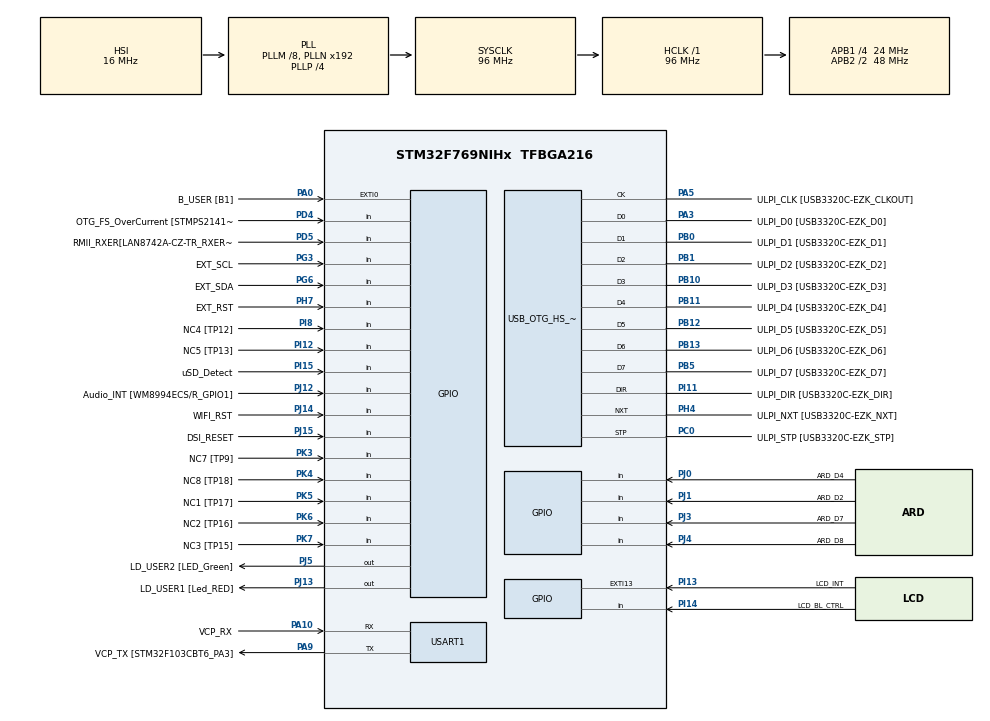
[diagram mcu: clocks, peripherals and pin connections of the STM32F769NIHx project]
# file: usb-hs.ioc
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DSIHOST_CKN.GPIO_Label=DSI_CK_N
DSIHOST_CKN.Signal=DSIHOST_CKN
DSIHOST_CKP.GPIO_Label=DSI_CK_P
DSIHOST_CKP.Signal=DSIHOST_CKP
DSIHOST_D0N.GPIO_Label=DSI_D0_N
DSIHOST_D0N.Signal=DSIHOST_D0N
DSIHOST_D0P.GPIO_Label=DSI_D0_p
DSIHOST_D0P.Signal=DSIHOST_D0P
DSIHOST_D1N.GPIO_Label=DSI_D1_N
DSIHOST_D1N.Signal=DSIHOST_D1N
DSIHOST_D1P.GPIO_Label=DSI_D1_P
DSIHOST_D1P.Signal=DSIHOST_D1P
Mcu.Family=STM32F7
Mcu.Name=STM32F769NIHx
Mcu.Package=TFBGA216
NVIC.OTG_HS_IRQn=true\:0\:0\:false\:false\:true\:true\:true\:true
NVIC.PriorityGroup=NVIC_PRIORITYGROUP_4
PA0/WKUP.GPIO_Label=B_USER [B1]
PA0/WKUP.Signal=GPXTI0
PA1.GPIO_Label=RMII_REF_CLK [LAN8742A-CZ-TR_REFCLK0]
PA1.Signal=ETH_REF_CLK
PA10.GPIO_Label=VCP_RX 
PA10.Mode=Asynchronous
PA10.Signal=USART1_RX
PA11.GPIO_Label=SPI2_NSS
PA11.Signal=SPI2_NSS
PA12.GPIO_Label=ARD_D13/SCK
PA12.GPIO_Mode=GPIO_MODE_AF_PP
PA12.GPIO_PuPd=GPIO_NOPULL
PA12.GPIO_Speed=GPIO_SPEED_FREQ_LOW
PA12.Signal=SPI2_SCK
PA13.GPIO_Label=SWDIO
PA13.Signal=SYS_JTMS-SWDIO
PA14.GPIO_Label=SWCLK
PA14.Signal=SYS_JTCK-SWCLK
PA15.GPIO_Label=CEC
PA15.Signal=CEC
PA2.GPIO_Label=RMII_MDIO [LAN8742A-CZ-TR_MDIO]
PA2.Signal=ETH_MDIO
PA3.GPIO_Label=ULPI_D0 [USB3320C-EZK_D0]
PA3.Mode=Device_HS
PA3.Signal=USB_OTG_HS_ULPI_D0
PA4.GPIO_Label=ARD_A1
PA4.Signal=ADCx_IN4
PA5.GPIO_Label=ULPI_CLK [USB3320C-EZK_CLKOUT]
PA5.Mode=Device_HS
PA5.Signal=USB_OTG_HS_ULPI_CK
PA6.GPIO_Label=ARD_A0
PA6.Signal=ADCx_IN6
PA7.GPIO_Label=RMII_CRS_DV [LAN8742A-CZ-TR_CRS_DV]
PA7.Signal=ETH_CRS_DV
PA8.GPIO_Label=CEC_CLK [TP2]
PA8.Signal=RCC_MCO_1
PA9.GPIO_Label=VCP_TX [STM32F103CBT6_PA3]
PA9.GPIO_Mode=GPIO_MODE_AF_PP
PA9.GPIO_PuPd=GPIO_NOPULL
PA9.GPIO_Speed=GPIO_SPEED_FREQ_LOW
PA9.Mode=Asynchronous
PA9.Signal=USART1_TX
PB0.GPIO_Label=ULPI_D1 [USB3320C-EZK_D1]
PB0.Mode=Device_HS
PB0.Signal=USB_OTG_HS_ULPI_D1
PB1.GPIO_Label=ULPI_D2 [USB3320C-EZK_D2]
PB1.Mode=Device_HS
PB1.Signal=USB_OTG_HS_ULPI_D2
PB10.GPIO_Label=ULPI_D3 [USB3320C-EZK_D3]
PB10.Mode=Device_HS
PB10.Signal=USB_OTG_HS_ULPI_D3
PB11.GPIO_Label=ULPI_D4 [USB3320C-EZK_D4]
PB11.Mode=Device_HS
PB11.Signal=USB_OTG_HS_ULPI_D4
PB12.GPIO_Label=ULPI_D5 [USB3320C-EZK_D5]
PB12.Mode=Device_HS
PB12.Signal=USB_OTG_HS_ULPI_D5
PB13.GPIO_Label=ULPI_D6 [USB3320C-EZK_D6]
PB13.Mode=Device_HS
PB13.Signal=USB_OTG_HS_ULPI_D6
PB14.GPIO_Label=ARDUINO MISO/D12
PB14.GPIO_Mode=GPIO_MODE_AF_PP
PB14.GPIO_PuPd=GPIO_NOPULL
PB14.GPIO_Speed=GPIO_SPEED_FREQ_LOW
PB14.Signal=SPI2_MISO
PB15.GPIO_Label=ARDUINO MOSI/PWM/D11
PB15.GPIO_Mode=GPIO_MODE_AF_PP
PB15.GPIO_PuPd=GPIO_NOPULL
PB15.GPIO_Speed=GPIO_SPEED_FREQ_LOW
PB15.Signal=SPI2_MOSI
PB2.Signal=QUADSPI_CLK
PB3.GPIO_Label=uSD_D2
PB3.Signal=SDMMC2_D2
PB4.GPIO_Label=uSD_D3
PB4.Signal=SDMMC2_D3
PB5.GPIO_Label=ULPI_D7 [USB3320C-EZK_D7]
PB5.Mode=Device_HS
PB5.Signal=USB_OTG_HS_ULPI_D7
PB6.GPIO_Label=QSPI_NCS [N25Q128A13EF840E_S]
PB6.Signal=QUADSPI_BK1_NCS
PB7.GPIO_Label=AUDIO_SDA [WM8994ECS/R_SDA]
PB7.Signal=I2C4_SDA
PB8.GPIO_Label=ARDUINO SCL/D15
PB8.GPIO_Mode=GPIO_MODE_AF_OD
PB8.GPIO_PuPd=GPIO_NOPULL
PB8.GPIO_Speed=GPIO_SPEED_FREQ_LOW
PB8.Signal=I2C1_SCL
PB9.GPIO_Label=ARDUINO SDA/D14
PB9.GPIO_Mode=GPIO_MODE_AF_OD
PB9.GPIO_PuPd=GPIO_NOPULL
PB9.GPIO_Speed=GPIO_SPEED_FREQ_LOW
PB9.Signal=I2C1_SDA
PC0.GPIO_Label=ULPI_STP [USB3320C-EZK_STP]
PC0.Mode=Device_HS
PC0.Signal=USB_OTG_HS_ULPI_STP
PC1.GPIO_Label=RMII_MDC [LAN8742A-CZ-TR_MDC]
PC1.Signal=ETH_MDC
PC10.GPIO_Label=QSPI_D1 [MT25QL512ABB1EW9_DQ1]
PC10.Signal=QUADSPI_BK1_IO1
PC11.GPIO_Label=DFSDM_DATIN5 [TP100]
PC11.Signal=S_DATAIN5DFSDM1
PC12.GPIO_Label=WIFI_RX
PC12.Signal=UART5_TX
PC13.Signal=RTC_OUT
PC14/OSC32_IN.GPIO_Label=RCC_OSC32_IN
PC14/OSC32_IN.Signal=RCC_OSC32_IN
PC15/OSC32_OUT.GPIO_Label=RCC_OSC32_OUT
PC15/OSC32_OUT.Signal=RCC_OSC32_OUT
PC2.GPIO_Label=ARD_A2
PC2.Signal=ADCx_IN12
PC3.GPIO_Label=DFSDM_DATIN1 [TP101]
PC3.Signal=S_DATAIN1DFSDM1
PC4.GPIO_Label=RMII_RXD0 [LAN8742A-CZ-TR_RXD0]
PC4.Signal=ETH_RXD0
PC5.GPIO_Label=RMII_RXD1 [LAN8742A-CZ-TR_RXD1]
PC5.Signal=ETH_RXD1
PC6.GPIO_Label=ARDUINO TX/D1
PC6.Signal=USART6_TX
PC7.GPIO_Label=ARD_D0/RX
PC7.Signal=USART6_RX
PC8.GPIO_Label=ARD_D5/PWM
PC8.Signal=S_TIM3_CH3
PC9.GPIO_Label=QSPI_D0 [N25Q128A13EF840E_DQ0]
PC9.Signal=QUADSPI_BK1_IO0
PD0.GPIO_Label=FMC_D2 [MT48LC4M32B2B5-6A_DQ2]
PD0.Signal=FMC_D2_DA2
PD1.GPIO_Label=FMC_D3 [MT48LC4M32B2B5-6A_DQ3]
PD1.Signal=FMC_D3_DA3
PD10.GPIO_Label=FMC_D15 [MT48LC4M32B2B5-6A_DQ15]
PD10.Signal=FMC_D15_DA15
PD11.GPIO_Label=SPDIF_TX [TP20]
PD11.Signal=SAI2_SD_A
PD12.GPIO_Label=AUDIO_SCL [WM8994ECS/R_SCLK]
PD12.Signal=I2C4_SCL
PD13.GPIO_Label=QSPI_D3 [N25Q128A13EF840E_DQ3]
PD13.Signal=QUADSPI_BK1_IO3
PD14.GPIO_Label=FMC_D0 [MT48LC4M32B2B5-6A_DQ0]
PD14.Signal=FMC_D0_DA0
PD15.GPIO_Label=FMC_D1 [MT48LC4M32B2B5-6A_DQ1]
PD15.Signal=FMC_D1_DA1
PD2.GPIO_Label=WIFI_TX
PD2.Signal=UART5_RX
PD3.GPIO_Label=DFSDM_CKOUT [TP102]
PD3.Signal=S_CKOUTDFSDM1
PD4.GPIO_Label=OTG_FS_OverCurrent [STMPS2141STR_Fault]
PD4.Signal=GPIO_Input
PD5.GPIO_Label=RMII_RXER[LAN8742A-CZ-TR_RXERR]
PD5.Signal=GPIO_Input
PD6.GPIO_Label=uSD_CLK
PD6.Signal=SDMMC2_CK
PD7.GPIO_Label=uSD_CMD
PD7.Signal=SDMMC2_CMD
PD8.GPIO_Label=FMC_D13 [MT48LC4M32B2B5-6A_DQ13]
PD8.Signal=FMC_D13_DA13
PD9.GPIO_Label=FMC_D14 [MT48LC4M32B2B5-6A_DQ14]
PD9.Signal=FMC_D14_DA14
PE0.GPIO_Label=FMC_NBL0 [MT48LC4M32B2B5-6A_DQM0]
PE0.Signal=FMC_NBL0
PE1.GPIO_Label=FMC_NBL1 [MT48LC4M32B2B5-6A_DQM1]
PE1.Signal=FMC_NBL1
PE10.GPIO_Label=FMC_D7 [MT48LC4M32B2B5-6A_DQ7]
PE10.Signal=FMC_D7_DA7
PE11.GPIO_Label=FMC_D8 [MT48LC4M32B2B5-6A_DQ8]
PE11.Signal=FMC_D8_DA8
PE12.GPIO_Label=FMC_D9 [MT48LC4M32B2B5-6A_DQ9]
PE12.Signal=FMC_D9_DA9
PE13.GPIO_Label=FMC_D10 [MT48LC4M32B2B5-6A_DQ10]
PE13.Signal=FMC_D10_DA10
PE14.GPIO_Label=FMC_D11 [MT48LC4M32B2B5-6A_DQ11]
PE14.Signal=FMC_D11_DA11
PE15.GPIO_Label=FMC_D12 [MT48LC4M32B2B5-6A_DQ12]
PE15.Signal=FMC_D12_DA12
PE2.GPIO_Label=QSPI_D2 [N25Q128A13EF840E_DQ2]
PE2.Signal=QUADSPI_BK1_IO2
PE3.GPIO_Label=SAI1_SDB [WM8994ECS/R_ADCDAT1]
PE3.Signal=SAI1_SD_B
PE4.GPIO_Label=SAI1_FSA [WM8994ECS/R_LRCLK1]
PE4.Signal=SAI1_FS_A
PE5.GPIO_Label=SAI1_SCKA [WM8994ECS/R_BCLK1]
PE5.Signal=SAI1_SCK_A
PE6.GPIO_Label=SAI1_SDA [WM8994ECS/R_DACDAT1]
PE6.Signal=SAI1_SD_A
PE7.GPIO_Label=FMC_D4 [MT48LC4M32B2B5-6A_DQ4]
PE7.Signal=FMC_D4_DA4
PE8.GPIO_Label=FMC_D5 [MT48LC4M32B2B5-6A_DQ5]
PE8.Signal=FMC_D5_DA5
PE9.GPIO_Label=FMC_D6 [MT48LC4M32B2B5-6A_DQ6]
PE9.Signal=FMC_D6_DA6
PF0.GPIO_Label=FMC_A0 [MT48LC4M32B2B5-6A_A0]
PF0.Signal=FMC_A0
PF1.GPIO_Label=FMC_A1 [MT48LC4M32B2B5-6A_A1]
PF1.Signal=FMC_A1
PF10.GPIO_Label=ARDUINO A1
PF10.GPIO_Mode=GPIO_MODE_ANALOG
PF10.GPIO_PuPd=GPIO_NOPULL
PF10.Signal=ADC3_IN8
PF11.GPIO_Label=FMC_SDNRAS [MT48LC4M32B2B5-6A_RAS]
PF11.Signal=FMC_SDNRAS
PF12.GPIO_Label=FMC_A6 [MT48LC4M32B2B5-6A_A6]
PF12.Signal=FMC_A6
PF13.GPIO_Label=FMC_A7 [MT48LC4M32B2B5-6A_A7]
PF13.Signal=FMC_A7
PF14.GPIO_Label=FMC_A8 [MT48LC4M32B2B5-6A_A8]
PF14.Signal=FMC_A8
PF15.GPIO_Label=FMC_A9 [MT48LC4M32B2B5-6A_A9]
PF15.Signal=FMC_A9
PF2.GPIO_Label=FMC_A2 [MT48LC4M32B2B5-6A_A2]
PF2.Signal=FMC_A2
PF3.GPIO_Label=FMC_A3 [MT48LC4M32B2B5-6A_A3]
PF3.Signal=FMC_A3
PF4.GPIO_Label=FMC_A4 [MT48LC4M32B2B5-6A_A4]
PF4.Signal=FMC_A4
PF5.GPIO_Label=FMC_A5 [MT48LC4M32B2B5-6A_A5]
PF5.Signal=FMC_A5
PF6.GPIO_Label=ARD_D3/PWM
PF6.Signal=S_TIM10_CH1
PF7.GPIO_Label=ARD_D6/PWM
PF7.Signal=S_TIM11_CH1
PF8.GPIO_Label=ARDUINO A3
PF8.GPIO_Mode=GPIO_MODE_ANALOG
PF8.GPIO_PuPd=GPIO_NOPULL
PF8.Signal=ADC3_IN6
PF9.GPIO_Label=ARDUINO A2
PF9.GPIO_Mode=GPIO_MODE_ANALOG
PF9.GPIO_PuPd=GPIO_NOPULL
PF9.Signal=ADC3_IN7
PG0.GPIO_Label=FMC_A10 [MT48LC4M32B2B5-6A_A10]
PG0.Signal=FMC_A10
PG1.GPIO_Label=FMC_A11 [MT48LC4M32B2B5-6A_A11]
PG1.Signal=FMC_A11
PG10.GPIO_Label=uSD_D1
PG10.Signal=SDMMC2_D1
PG11.GPIO_Label=RMII_TX_EN [LAN8742A-CZ-TR_TXEN]
PG11.Signal=ETH_TX_EN
PG12.GPIO_Label=SPDIF_RX [74LVC1G04SE_4]
PG12.Signal=SPDIFRX_IN1
PG13.GPIO_Label=RMII_TXD0 [LAN8742A-CZ-TR_TXD0]
PG13.Signal=ETH_TXD0
PG14.GPIO_Label=RMII_TXD1 [LAN8742A-CZ-TR_TXD1]
PG14.Signal=ETH_TXD1
PG15.GPIO_Label=FMC_SDNCAS [MT48LC4M32B2B5-6A_CAS]
PG15.Signal=FMC_SDNCAS
PG2.GPIO_Label=FMC_A12
PG2.Signal=FMC_A12
PG3.GPIO_Label=EXT_SCL
PG3.Signal=GPIO_Input
PG4.GPIO_Label=FMC_BA0 [MT48LC4M32B2B5-6A_BA0]
PG4.Signal=FMC_A14_BA0
PG5.GPIO_Label=FMC_BA1 [MT48LC4M32B2B5-6A_BA1]
PG5.Signal=FMC_A15_BA1
PG6.GPIO_Label=EXT_SDA
PG6.Signal=GPIO_Input
PG7.GPIO_Label=SAI1_MCLKA [WM8994ECS/R_MCLK1]
PG7.Signal=SAI1_MCLK_A
PG8.GPIO_Label=FMC_SDCLK [MT48LC4M32B2B5-6A_CLK]
PG8.Signal=FMC_SDCLK
PG9.GPIO_Label=uSD_D0
PG9.Signal=SDMMC2_D0
PH0/OSC_IN.GPIO_Label=OSC_25M [NZ2520SB-25.00M_OUT]
PH0/OSC_IN.Signal=RCC_OSC_IN
PH1/OSC_OUT.Signal=RCC_OSC_OUT
PH10.GPIO_Label=FMC_D18 [MT48LC4M32B2B5-6A_DQ18]
PH10.Signal=FMC_D18
PH11.GPIO_Label=FMC_D19 [MT48LC4M32B2B5-6A_DQ19]
PH11.Signal=FMC_D19
PH12.GPIO_Label=D20
PH12.Signal=FMC_D20
PH13.GPIO_Label=D21
PH13.Signal=FMC_D21
PH14.GPIO_Label=D22
PH14.Signal=FMC_D22
PH15.GPIO_Label=D23
PH15.Signal=FMC_D23
PH2.GPIO_Label=FMC_SDCKE0 [MT48LC4M32B2B5-6A_CKE]
PH2.Signal=FMC_SDCKE0
PH3.GPIO_Label=FMC_SDNE0 [MT48LC4M32B2B5-6A_CS]
PH3.Signal=FMC_SDNE0
PH4.GPIO_Label=ULPI_NXT [USB3320C-EZK_NXT]
PH4.Mode=Device_HS
PH4.Signal=USB_OTG_HS_ULPI_NXT
PH5.GPIO_Label=FMC_SDNME [MT48LC4M32B2B5-6A_WE]
PH5.Signal=FMC_SDNWE
PH6.GPIO_Label=ARDUINO PWM/D6
PH6.Signal=S_TIM12_CH1
PH7.GPIO_Label=EXT_RST
PH7.Signal=GPIO_Input
PH8.GPIO_Label=FMC_D16 [MT48LC4M32B2B5-6A_DQ16]
PH8.Signal=FMC_D16
PH9.GPIO_Label=FMC_D\!7 [MT48LC4M32B2B5-6A_DQ17]
PH9.Signal=FMC_D17
PI0.GPIO_Label=D24
PI0.Signal=FMC_D24
PI1.GPIO_Label=D25
PI1.Signal=FMC_D25
PI10.GPIO_Label=D31
PI10.Signal=FMC_D31
PI11.GPIO_Label=ULPI_DIR [USB3320C-EZK_DIR]
PI11.Mode=Device_HS
PI11.Signal=USB_OTG_HS_ULPI_DIR
PI12.GPIO_Label=NC5 [TP13]
PI12.Signal=GPIO_Input
PI13.GPIO_Label=LCD_INT
PI13.GPIO_ModeDefaultEXTI=GPIO_MODE_EVT_RISING
PI13.Signal=GPXTI13
PI14.GPIO_Label=LCD_BL_CTRL
PI14.Signal=GPIO_Input
PI15.GPIO_Label=uSD_Detect
PI15.Signal=GPIO_Input
PI2.GPIO_Label=D26
PI2.Signal=FMC_D26
PI3.GPIO_Label=D27
PI3.Signal=FMC_D27
PI4.GPIO_Label=FMC_NBL2 [MT48LC4M32B2B5-6A_DQM2]
PI4.Signal=FMC_NBL2
PI5.GPIO_Label=FMC_NBL3 [MT48LC4M32B2B5-6A_DQM3]
PI5.Signal=FMC_NBL3
PI6.GPIO_Label=D28
PI6.Signal=FMC_D28
PI7.GPIO_Label=D29
PI7.Signal=FMC_D29
PI8.GPIO_Label=NC4 [TP12]
PI8.Signal=GPIO_Input
PI9.GPIO_Label=D30
PI9.Signal=FMC_D30
PJ0.GPIO_Label=ARD_D4
PJ0.Signal=GPIO_Input
PJ1.GPIO_Label=ARD_D2
PJ1.Signal=GPIO_Input
PJ12.GPIO_Label=Audio_INT [WM8994ECS/R_GPIO1]
PJ12.Signal=GPIO_Input
PJ13.GPIO_Label=LD_USER1 [Led_RED]
PJ13.Signal=GPIO_Output
PJ14.GPIO_Label=WIFI_RST
PJ14.Signal=GPIO_Input
PJ15.GPIO_Label=DSI_RESET
PJ15.Signal=GPIO_Input
PJ2.GPIO_Label=DSIHOST_TE
PJ2.Signal=DSIHOST_TE
PJ3.GPIO_Label=ARD_D7
PJ3.Signal=GPIO_Input
PJ4.GPIO_Label=ARD_D8
PJ4.Signal=GPIO_Input
PJ5.GPIO_Label=LD_USER2 [LED_Green]
PJ5.Signal=GPIO_Output
PK3.GPIO_Label=NC7 [TP9]
PK3.Signal=GPIO_Input
PK4.GPIO_Label=NC8 [TP18]
PK4.Signal=GPIO_Input
PK5.GPIO_Label=NC1 [TP17]
PK5.Signal=GPIO_Input
PK6.GPIO_Label=NC2 [TP16]
PK6.Signal=GPIO_Input
PK7.GPIO_Label=NC3 [TP15]
PK7.Signal=GPIO_Input
ProjectManager.HeapSize=0x200
ProjectManager.StackSize=0x400
ProjectManager.TargetToolchain=STM32CubeIDE
RCC.AHBFreq_Value=96000000
RCC.APB1CLKDivider=RCC_HCLK_DIV4
RCC.APB1Freq_Value=24000000
RCC.APB1TimFreq_Value=48000000
RCC.APB2CLKDivider=RCC_HCLK_DIV2
RCC.APB2Freq_Value=48000000
RCC.APB2TimFreq_Value=96000000
RCC.CortexFreq_Value=96000000
RCC.HCLKFreq_Value=96000000
RCC.HSE_VALUE=25000000
RCC.HSI_VALUE=16000000
RCC.LSE_VALUE=32768
RCC.PLLM=8
RCC.PLLP=RCC_PLLP_DIV4
RCC.PLLQ=4
RCC.PLLSAIQ=3
RCC.SYSCLKFreq_VALUE=96000000
RCC.SYSCLKSource=RCC_SYSCLKSOURCE_PLLCLK
RCC.USBFreq_Value=96000000
RCC.VCOOutputFreq_Value=384000000
SH.ADCx_IN12.0=ADC1_IN12
SH.ADCx_IN4.0=ADC1_IN4
SH.ADCx_IN6.0=ADC1_IN6
SH.FMC_A0.0=FMC_A0
SH.FMC_A1.0=FMC_A1
SH.FMC_A10.0=FMC_A10
SH.FMC_A11.0=FMC_A11
SH.FMC_A12.0=FMC_A12
SH.FMC_A14_BA0.0=FMC_BA0
SH.FMC_A15_BA1.0=FMC_BA1
SH.FMC_A2.0=FMC_A2
SH.FMC_A3.0=FMC_A3
SH.FMC_A4.0=FMC_A4
SH.FMC_A5.0=FMC_A5
SH.FMC_A6.0=FMC_A6
SH.FMC_A7.0=FMC_A7
SH.FMC_A8.0=FMC_A8
SH.FMC_A9.0=FMC_A9
SH.FMC_D0_DA0.0=FMC_D0
SH.FMC_D10_DA10.0=FMC_D10
SH.FMC_D11_DA11.0=FMC_D11
SH.FMC_D12_DA12.0=FMC_D12
SH.FMC_D13_DA13.0=FMC_D13
SH.FMC_D14_DA14.0=FMC_D14
SH.FMC_D15_DA15.0=FMC_D15
SH.FMC_D16.0=FMC_D16
SH.FMC_D17.0=FMC_D17
SH.FMC_D18.0=FMC_D18
SH.FMC_D19.0=FMC_D19
SH.FMC_D1_DA1.0=FMC_D1
SH.FMC_D20.0=FMC_D20
SH.FMC_D21.0=FMC_D21
SH.FMC_D22.0=FMC_D22
SH.FMC_D23.0=FMC_D23
SH.FMC_D24.0=FMC_D24
SH.FMC_D25.0=FMC_D25
SH.FMC_D26.0=FMC_D26
SH.FMC_D27.0=FMC_D27
SH.FMC_D28.0=FMC_D28
SH.FMC_D29.0=FMC_D29
SH.FMC_D2_DA2.0=FMC_D2
SH.FMC_D30.0=FMC_D30
SH.FMC_D31.0=FMC_D31
SH.FMC_D3_DA3.0=FMC_D3
SH.FMC_D4_DA4.0=FMC_D4
SH.FMC_D5_DA5.0=FMC_D5
SH.FMC_D6_DA6.0=FMC_D6
SH.FMC_D7_DA7.0=FMC_D7
SH.FMC_D8_DA8.0=FMC_D8
SH.FMC_D9_DA9.0=FMC_D9
SH.FMC_NBL0.0=FMC_NBL0
SH.FMC_NBL1.0=FMC_NBL1
SH.FMC_NBL2.0=FMC_NBL2
SH.FMC_NBL3.0=FMC_NBL3
SH.FMC_SDCLK.0=FMC_SDCLK
SH.FMC_SDNCAS.0=FMC_SDNCAS
SH.FMC_SDNRAS.0=FMC_SDNRAS
SH.FMC_SDNWE.0=FMC_SDNWE
SH.S_CKOUTDFSDM1.0=DFSDM1_CKOUT
SH.S_DATAIN1DFSDM1.0=DFSDM1_DATIN1
SH.S_DATAIN5DFSDM1.0=DFSDM1_DATIN5
SH.S_TIM10_CH1.0=TIM10_CH1
SH.S_TIM11_CH1.0=TIM11_CH1
SH.S_TIM12_CH1.0=TIM12_CH1
SH.S_TIM3_CH3.0=TIM3_CH3
USART1.VirtualMode-Asynchronous=VM_ASYNC
USB_OTG_HS.VirtualMode-Device_HS=Device_HS
board=STM32F769I-DISCO

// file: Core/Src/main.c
/* USER CODE BEGIN Header */
/**
 ******************************************************************************
 * @file           : main.c
 * @brief          : Main program body
 ******************************************************************************
 * @attention
 *
 * Copyright (c) 2024 STMicroelectronics.
 * All rights reserved.
 *
 * This software is licensed under terms that can be found in the LICENSE file
 * in the root directory of this software component.
 * If no LICENSE file comes with this software, it is provided AS-IS.
 *
 ******************************************************************************
 */
/* USER CODE END Header */
#include "main.h"
#include "usart.h"
#include "usb_otg.h"
#include "gpio.h"

/* USER CODE BEGIN Includes */
#include "cmsis_os.h"
#include "mongoose.h"
#include "printf.h"
#include "bsp_rndis_mongoose.h"
#include "custom_assert.h"
/* USER CODE END Includes */

/* USER CODE BEGIN PD */
#define UUID ((uint8_t *)UID_BASE) // Unique 96-bit chip ID. TRM 41.1

// Helper macro for MAC generation
#define GENERATE_LOCALLY_ADMINISTERED_MAC()                        \
  {                                                                \
    2, UUID[0] ^ UUID[1], UUID[2] ^ UUID[3], UUID[4] ^ UUID[5],    \
        UUID[6] ^ UUID[7] ^ UUID[8], UUID[9] ^ UUID[10] ^ UUID[11] \
  }
/* USER CODE END PD */

/* USER CODE BEGIN PV */
struct mg_tcpip_if *s_ifp;
uint8_t tud_network_mac_address[6] = {2, 2, 0x84, 0x6A, 0x96, 0};
static void task_alive(const void *pvParameters);
static void task_web_server(const void *param);
/* USER CODE END PV */

void SystemClock_Config(void);
/* USER CODE BEGIN PFP */
// void cdc_task(void);
static void fn(struct mg_connection *c, int ev, void *ev_data);
/* USER CODE END PFP */

int main(void)
{

  /* MCU Configuration--------------------------------------------------------*/

  /* Reset of all peripherals, Initializes the Flash interface and the Systick.	 */
  HAL_Init();

  /* Configure the system clock */
  SystemClock_Config();

  /* Initialize all configured peripherals */
  MX_GPIO_Init();
  //  MX_USB_OTG_HS_PCD_Init();
  MX_USART1_UART_Init();
  /* USER CODE BEGIN 2 */
  hw_rndis_init(&drv_rndis_0);
#if CFG_TUSB_OS == OPT_OS_NONE
  // 1ms tick timer
  SysTick_Config(SystemCoreClock / 1000);
#elif CFG_TUSB_OS == OPT_OS_FREERTOS
  // Explicitly disable systick to prevent its ISR runs before scheduler start
  SysTick->CTRL &= ~1U;
#endif

  // For alive task
  osThreadDef(TASK_ALIVE, task_alive, osPriorityNormal, 0, 512);
  osThreadId task_alive_handler = osThreadCreate(osThread(TASK_ALIVE), NULL);
  CUSTOM_ASSERT(task_alive_handler != NULL);
  // For Webserver
  osThreadDef(TASK_WEB_SERVER, task_web_server, osPriorityNormal, 0, 2048);
  osThreadId task_web_server_handler = osThreadCreate(osThread(TASK_WEB_SERVER), NULL);
  CUSTOM_ASSERT(task_web_server_handler != NULL);
  osKernelStart();
  /* USER CODE END 2 */
}

void SystemClock_Config(void)
{
  RCC_OscInitTypeDef RCC_OscInitStruct = {0};
  RCC_ClkInitTypeDef RCC_ClkInitStruct = {0};

  /** Configure the main internal regulator output voltage
   */
  __HAL_RCC_PWR_CLK_ENABLE();
  __HAL_PWR_VOLTAGESCALING_CONFIG(PWR_REGULATOR_VOLTAGE_SCALE3);

  /** Initializes the RCC Oscillators according to the specified parameters
   * in the RCC_OscInitTypeDef structure.
   */
  RCC_OscInitStruct.OscillatorType = RCC_OSCILLATORTYPE_HSI;
  RCC_OscInitStruct.HSIState = RCC_HSI_ON;
  RCC_OscInitStruct.HSICalibrationValue = RCC_HSICALIBRATION_DEFAULT;
  RCC_OscInitStruct.PLL.PLLState = RCC_PLL_ON;
  RCC_OscInitStruct.PLL.PLLSource = RCC_PLLSOURCE_HSI;
  RCC_OscInitStruct.PLL.PLLM = 8;
  RCC_OscInitStruct.PLL.PLLN = 192;
  RCC_OscInitStruct.PLL.PLLP = RCC_PLLP_DIV4;
  RCC_OscInitStruct.PLL.PLLQ = 4;
  RCC_OscInitStruct.PLL.PLLR = 2;
  if (HAL_RCC_OscConfig(&RCC_OscInitStruct) != HAL_OK)
  {
    Error_Handler();
  }

  /** Initializes the CPU, AHB and APB buses clocks
   */
  RCC_ClkInitStruct.ClockType = RCC_CLOCKTYPE_HCLK | RCC_CLOCKTYPE_SYSCLK | RCC_CLOCKTYPE_PCLK1 | RCC_CLOCKTYPE_PCLK2;
  RCC_ClkInitStruct.SYSCLKSource = RCC_SYSCLKSOURCE_PLLCLK;
  RCC_ClkInitStruct.AHBCLKDivider = RCC_SYSCLK_DIV1;
  RCC_ClkInitStruct.APB1CLKDivider = RCC_HCLK_DIV4;
  RCC_ClkInitStruct.APB2CLKDivider = RCC_HCLK_DIV2;

  if (HAL_RCC_ClockConfig(&RCC_ClkInitStruct, FLASH_LATENCY_3) != HAL_OK)
  {
    Error_Handler();
  }
}

/* USER CODE BEGIN 4 */
uint64_t mg_millis(void)
{                       // Let Mongoose use our uptime function
  return HAL_GetTick(); // Return number of milliseconds since boot
}

// void cdc_task(void)
//{
//   // connected() check for DTR bit
//   // Most but not all terminal client set this when making connection
//   // if ( tud_cdc_connected() )
//   {
//     // connected and there are data available
//     if ( tud_cdc_available() )
//     {
//       // read data
//       char buf[64];
//       uint32_t count = tud_cdc_read(buf, sizeof(buf));
//       (void) count;
//
//       // Echo back
//       // Note: Skip echo by commenting out write() and write_flush()
//       // for throughput test e.g
//       //    $ dd if=/dev/zero of=/dev/ttyACM0 count=10000
//       tud_cdc_write(buf, count);
//       tud_cdc_write_flush();
//     }
//   }
// }

static void fn(struct mg_connection *c, int ev, void *ev_data)
{
  if (ev == MG_EV_HTTP_MSG)
  {
    struct mg_http_message *hm = (struct mg_http_message *)ev_data;
    if (mg_http_match_uri(hm, "/api/debug"))
    {
      int level = mg_json_get_long(hm->body, "$.level", MG_LL_DEBUG);
      mg_log_set(level);
      mg_http_reply(c, 200, "", "Debug level set to %d\n", level);
    }
    else
    {
      mg_http_reply(c, 200, "", "hi\n");
    }
  }
}

static void task_alive(const void *pvParameters)
{
  while (1)
  {
    printf("Blink\r\n");
    HAL_GPIO_WritePin(GPIOJ, GPIO_PIN_5, GPIO_PIN_SET);
    HAL_GPIO_WritePin(GPIOJ, GPIO_PIN_13, GPIO_PIN_SET);
    osDelay(100);
    HAL_GPIO_WritePin(GPIOJ, GPIO_PIN_5, GPIO_PIN_RESET);
    HAL_GPIO_WritePin(GPIOJ, GPIO_PIN_13, GPIO_PIN_RESET);
    osDelay(100);
    HAL_GPIO_WritePin(GPIOJ, GPIO_PIN_5, GPIO_PIN_SET);
    HAL_GPIO_WritePin(GPIOJ, GPIO_PIN_13, GPIO_PIN_SET);
    osDelay(100);
    HAL_GPIO_WritePin(GPIOJ, GPIO_PIN_5, GPIO_PIN_RESET);
    HAL_GPIO_WritePin(GPIOJ, GPIO_PIN_13, GPIO_PIN_RESET);
    osDelay(700);
  }
}

static void task_web_server(const void *param)
{
  // Mongoose Init
  struct mg_mgr mgr;       // Initialise
  mg_mgr_init(&mgr);       // Mongoose event manager
  mg_log_set(MG_LL_DEBUG); // Set log level
  MG_INFO(("Init TCP/IP stack ..."));
  struct mg_tcpip_driver driver = {.tx = usb_tx, .up = usb_up};
  struct mg_tcpip_if mif = {.mac = GENERATE_LOCALLY_ADMINISTERED_MAC(),
                            .ip = mg_htonl(MG_U32(192, 168, 3, 1)),
                            .mask = mg_htonl(MG_U32(255, 255, 255, 0)),
                            .enable_dhcp_server = true,
                            .driver = &driver,
                            .recv_queue.size = 4096};
  s_ifp = &mif;
  mg_tcpip_init(&mgr, &mif);
  //  mg_timer_add(&mgr, 500, MG_TIMER_REPEAT, blink_cb, &mgr);
  mg_http_listen(&mgr, "tcp://0.0.0.0:80", fn, &mgr);

  MG_INFO(("Init done, starting main loop ..."));
  for (;;)
  {
    mg_mgr_poll(&mgr, 1);
  }
}

/* USER CODE END 4 */

void Error_Handler(void)
{
  __disable_irq();
  while (1)
  {
  }
}
